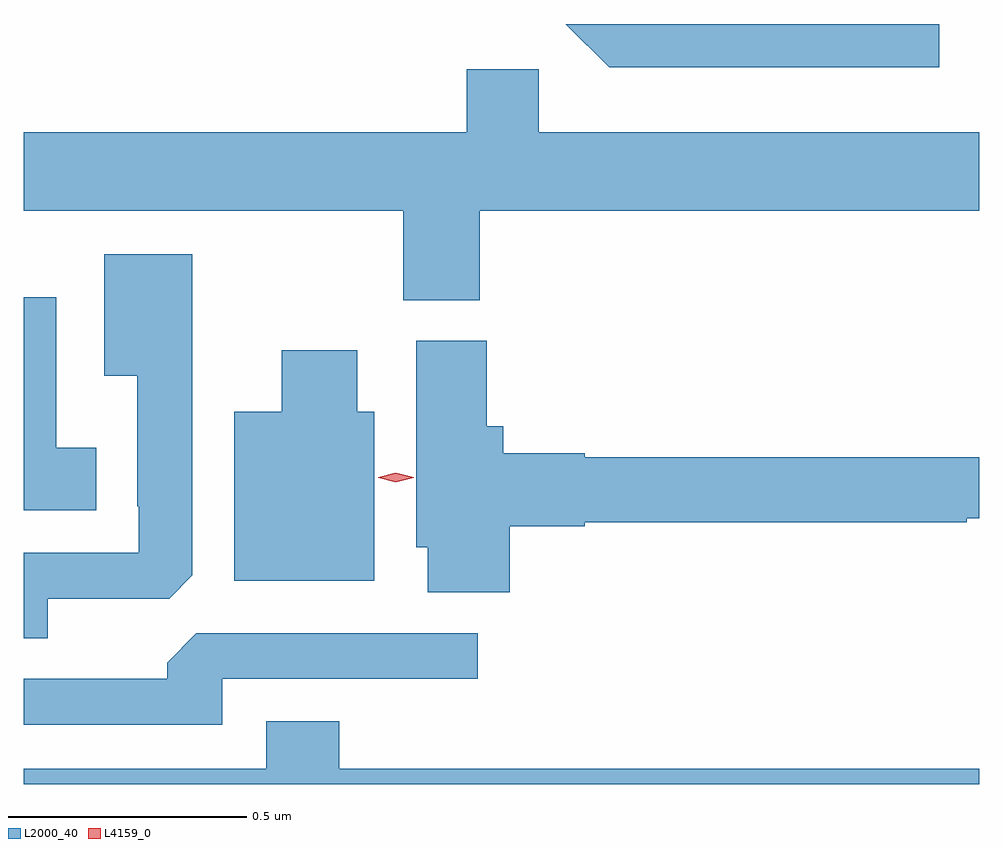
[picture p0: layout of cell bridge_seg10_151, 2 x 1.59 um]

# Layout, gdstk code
import gdstk
lib = gdstk.Library(unit=1e-6, precision=1e-09)
def P(c, l, *ps):  # polygons
    for p in ps: c.add(gdstk.Polygon(p, *l))
L2000_40 = (2000, 40)
L4159_0 = (4159, 0)

bridge_seg10_151 = lib.new_cell('bridge_seg10_151')
P(bridge_seg10_151, L2000_40, [(320.512,1250.091),(319.731,1250.091),(319.822,1250),(320.512,1250)],
  [(319.55,1249.7),(320.596,1249.7),(320.596,1249.864),(319.674,1249.864),(319.674,1249.996),(319.523,1249.996),(319.523,1249.864),(318.596,1249.864),(318.596,1249.7),(319.39,1249.7),(319.39,1249.513),(319.55,1249.513)],
  [(318.646,1248.888),(318.9,1248.888),(318.949,1248.937),(318.949,1249.609),(318.764,1249.609),(318.764,1249.355),(318.833,1249.355),(318.833,1249.081),(318.837,1249.081),(318.837,1248.984),(318.596,1248.984),(318.596,1248.805),(318.646,1248.805)],
  [(318.748,1249.204),(318.664,1249.204),(318.664,1249.519),(318.596,1249.519),(318.596,1249.073),(318.748,1249.073)],
  [(319.613,1249.04),(319.77,1249.04),(319.77,1249.048),(320.57,1249.048),(320.57,1249.056),(320.596,1249.056),(320.596,1249.184),(319.77,1249.184),(319.77,1249.192),(319.6,1249.192),(319.6,1249.249),(319.565,1249.249),(319.565,1249.428),(319.418,1249.428),(319.418,1248.996),(319.442,1248.996),(319.442,1248.901),(319.613,1248.901)],
  [(319.33,1249.279),(319.294,1249.279),(319.294,1249.408),(319.136,1249.408),(319.136,1249.279),(319.037,1249.279),(319.037,1248.926),(319.33,1248.926)],
  [(319.011,1248.72),(319.546,1248.72),(319.546,1248.816),(318.957,1248.816),(318.896,1248.754),(318.896,1248.72),(318.596,1248.72),(318.596,1248.624),(319.011,1248.624)],
  [(320.596,1248.532),(319.256,1248.532),(319.256,1248.631),(319.103,1248.631),(319.103,1248.532),(318.596,1248.532),(318.596,1248.5),(320.596,1248.5)])
P(bridge_seg10_151, L4159_0, [(319.375,1249.132),(319.338,1249.141),(319.338,1249.142),(319.338,1249.142),(319.375,1249.152),(319.412,1249.142),(319.412,1249.142),(319.412,1249.141)])

lib.write_gds('bridge_seg10_151.gds')
